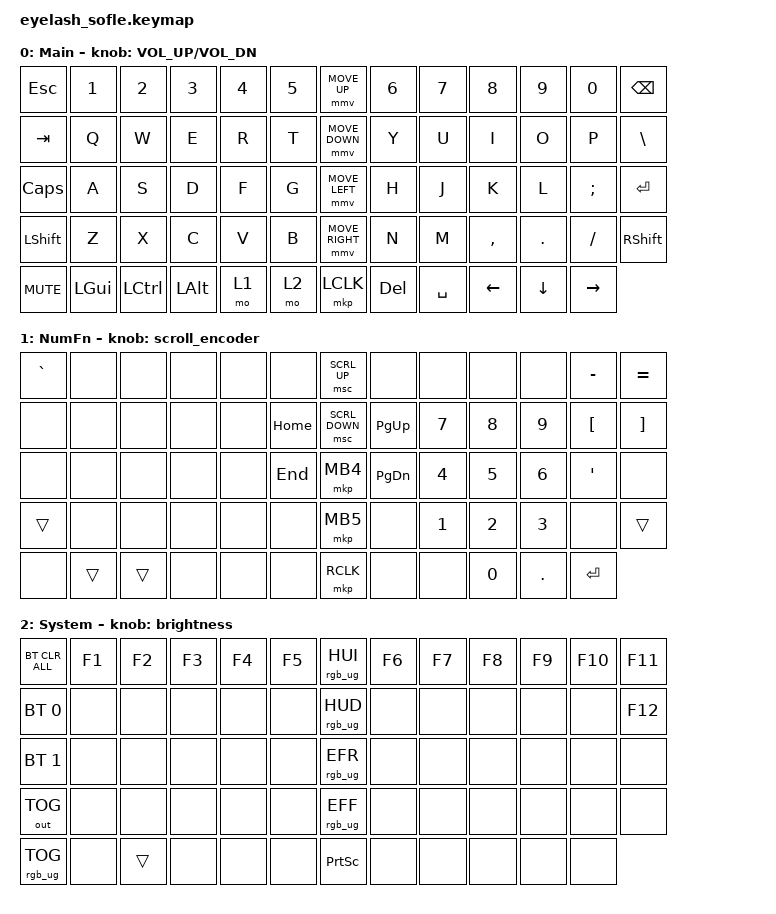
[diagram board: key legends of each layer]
#define ZMK_POINTING_DEFAULT_MOVE_VAL 1200  // 600
#define ZMK_POINTING_DEFAULT_SCRL_VAL 25   // 10

#include <input/processors.dtsi>
#include <zephyr/dt-bindings/input/input-event-codes.h>
#include <behaviors.dtsi>
#include <dt-bindings/zmk/bt.h>
#include <dt-bindings/zmk/keys.h>
#include <dt-bindings/zmk/outputs.h>
#include <dt-bindings/zmk/pointing.h>
#include <dt-bindings/zmk/rgb.h>

&mmv_input_listener { input-processors = <&zip_xy_scaler 2 1>; };

&msc_input_listener { input-processors = <&zip_scroll_scaler 2 1>; };

&msc {
    acceleration-exponent = <1>;      // 0
    time-to-max-speed-ms = <100>;       // 300
    delay-ms = <0>;                   // 0
};

&mmv {
    time-to-max-speed-ms = <500>;
    acceleration-exponent = <1>;
    trigger-period-ms = <16>;
};

/ {
    scroll_encoder: scroll_encoder {
        compatible = "zmk,behavior-sensor-rotate";
        #sensor-binding-cells = <0>;
        bindings = <&msc SCRL_DOWN>, <&msc SCRL_UP>;

        tap-ms = <100>;
    };

    brightness: brightness {
        compatible = "zmk,behavior-sensor-rotate";
        label = "BRIGHTNESS";
        #sensor-binding-cells = <0>;
        bindings = <&rgb_ug RGB_BRI>, <&rgb_ug RGB_BRD>;
    };

    behaviors {
    };

    combos {
        compatible = "zmk,combos";

        up_arrov {
            bindings = <&kp UP>;
            key-positions = <48 62>;
            layers = <0>;
            timeout-ms = <200>;
            require-prior-idle-ms = <200>;
        };

        sat_inc {
            bindings = <&rgb_ug RGB_SAI>;
            key-positions = <52 6>;
            layers = <2>;
            timeout-ms = <400>;
            require-prior-idle-ms = <400>;
        };

        sat_dec {
            bindings = <&rgb_ug RGB_SAD>;
            key-positions = <52 19>;
            layers = <2>;
            timeout-ms = <400>;
            require-prior-idle-ms = <400>;
        };

        speed_inc {
            bindings = <&rgb_ug RGB_SPI>;
            key-positions = <52 45>;
            layers = <2>;
            timeout-ms = <400>;
            require-prior-idle-ms = <400>;
        };

        speed_dec {
            bindings = <&rgb_ug RGB_SPD>;
            key-positions = <52 32>;
            layers = <2>;
            timeout-ms = <400>;
            require-prior-idle-ms = <400>;
        };
    };

    keymap {
        compatible = "zmk,keymap";

        layer0 {
            bindings = <
&kp ESC     &kp N1        &kp N2     &kp N3    &kp N4  &kp N5    &mmv MOVE_UP     &kp N6   &kp N7     &kp N8     &kp N9    &kp N0     &kp BACKSPACE
&kp TAB     &kp Q         &kp W      &kp E     &kp R   &kp T     &mmv MOVE_DOWN   &kp Y    &kp U      &kp I      &kp O     &kp P      &kp BACKSLASH
&kp CAPS    &kp A         &kp S      &kp D     &kp F   &kp G     &mmv MOVE_LEFT   &kp H    &kp J      &kp K      &kp L     &kp SEMI   &kp ENTER
&kp LSHFT   &kp Z         &kp X      &kp C     &kp V   &kp B     &mmv MOVE_RIGHT  &kp N    &kp M      &kp COMMA  &kp DOT   &kp SLASH  &kp RSHIFT
&kp C_MUTE  &kp LEFT_GUI  &kp LCTRL  &kp LALT  &mo 1   &mo 2     &mkp LCLK        &kp DEL  &kp SPACE  &kp LEFT   &kp DOWN  &kp RIGHT
            >;

            sensor-bindings = <&inc_dec_kp C_VOLUME_UP C_VOL_DN>;
            display-name = "Main";
        };

        layer_1 {
            bindings = <
&kp GRAVE  &none   &none   &none  &none  &none       &msc SCRL_UP    &none          &none   &none   &none    &kp MINUS         &kp EQUAL
&none      &none   &none   &none  &none  &kp HOME    &msc SCRL_DOWN  &kp PAGE_UP    &kp N7  &kp N8  &kp N9   &kp LEFT_BRACKET  &kp RIGHT_BRACKET
&none      &none   &none   &none  &none  &kp END     &mkp MB4        &kp PAGE_DOWN  &kp N4  &kp N5  &kp N6   &kp SQT           &none
&trans     &none   &none   &none  &none  &none       &mkp MB5        &none          &kp N1  &kp N2  &kp N3   &none             &trans
&none      &trans  &trans  &none  &none  &none       &mkp RCLK       &none          &none   &kp N0  &kp DOT  &kp ENTER
            >;

            display-name = "NumFn";
            sensor-bindings = <&scroll_encoder>;
        };

        layer_2 {
            bindings = <
&bt BT_CLR_ALL   &kp F1  &kp F2  &kp F3  &kp F4  &kp F5    &rgb_ug RGB_HUI  &kp F6  &kp F7  &kp F8  &kp F9  &kp F10  &kp F11
&bt BT_SEL 0     &none   &none   &none   &none   &none     &rgb_ug RGB_HUD  &none   &none   &none   &none   &none    &kp F12
&bt BT_SEL 1     &none   &none   &none   &none   &none     &rgb_ug RGB_EFR  &none   &none   &none   &none   &none    &none
&out OUT_TOG     &none   &none   &none   &none   &none     &rgb_ug RGB_EFF  &none   &none   &none   &none   &none    &none
&rgb_ug RGB_TOG  &none   &trans  &none   &none   &none     &kp PRINTSCREEN  &none   &none   &none   &none   &none
            >;

            display-name = "System";
            sensor-bindings = <&brightness>;
        };
    };
};
